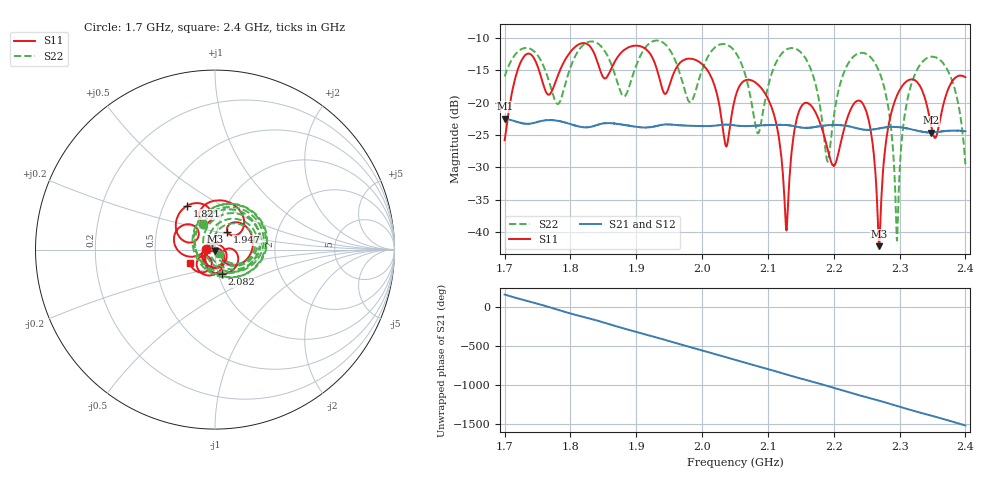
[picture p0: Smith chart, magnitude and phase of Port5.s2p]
# Hz S RI R 50
! CMT, CMT808U, 21440046, 21.4.3/4
! Date: 9/9/2026 12:50:48 AM
! Data: Format (Calibration Info)
! Freq	S11:Re/Im(F2)	S41:Re/Im(F2)	S14:Re/Im(F2)	S44:Re/Im(F2)
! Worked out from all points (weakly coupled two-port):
!   3001 points, 1.7 GHz to 2.4 GHz, reference 50 ohm
!   highest |S21| = -22.44 dB at 1.701 GHz (marker M1); lowest = -24.6 dB at 2.348 GHz (marker M2)
!   lowest |S11| = -42.2 dB at 2.269 GHz (marker M3), VSWR 1.02, Z = 50 - j0.776 ohm
!   |S11| at or under -10 dB: start of sweep to end of sweep
!   |S22| runs from -41.3 to -10.4 dB; largest |S21 - S12| = 0.0011
!   S11 on the Smith chart (normalised r, x): 1.7 GHz: 0.90, +0.00; 1.821 GHz: 0.66, +0.35; 1.947 GHz: 1.12, +0.23; 2.082 GHz: 1.04, -0.29; 2.4 GHz: 0.75, -0.11
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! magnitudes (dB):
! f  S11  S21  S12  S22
! 1.7 GHz  -25.8  -22.4  -22.5  -15.9
! 1.701 GHz  -25.4  -22.4  -22.5  -15.7
! 1.73 GHz  -12.8  -23.2  -23.3  -11.5
! 1.781 GHz  -15.9  -22.8  -22.8  -20.2
! 1.817 GHz  -10.8  -23.7  -23.7  -11.3
! 1.821 GHz  -10.8  -23.8  -23.8  -10.9
! 1.881 GHz  -11.9  -23.4  -23.4  -19.0
! 1.934 GHz  -15.6  -23.5  -23.5  -10.4
! 1.947 GHz  -18.3  -23.4  -23.4  -11.2
! 1.982 GHz  -13.2  -23.5  -23.6  -19.9
! 2.05 GHz  -19.3  -23.5  -23.5  -12.1
! 2.082 GHz  -16.9  -23.5  -23.6  -23.8
! 2.128 GHz  -39.8  -23.4  -23.5  -11.8
! 2.167 GHz  -20.6  -23.8  -23.8  -15.2
! 2.191 GHz  -27.3  -23.5  -23.5  -29.0
! 2.245 GHz  -20.2  -24.2  -24.1  -12.3
! 2.269 GHz  -42.2  -24.0  -24.0  -15.2
! 2.284 GHz  -23.4  -23.8  -23.7  -21.1
! 2.296 GHz  -18.9  -23.8  -23.8  -41.3
! 2.313 GHz  -16.5  -24.0  -24.0  -18.9
! 2.348 GHz  -23.4  -24.6  -24.6  -12.9
! 2.4 GHz  -16.1  -24.4  -24.4  -29.5
